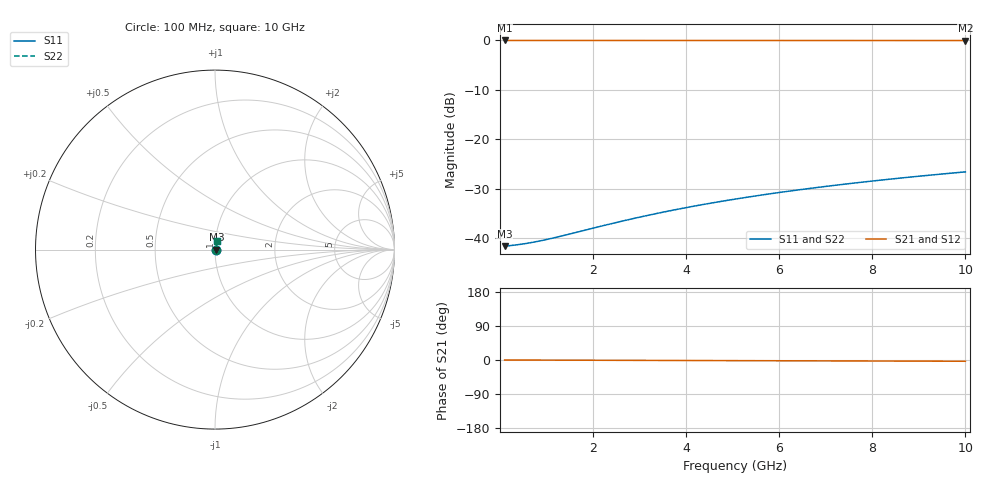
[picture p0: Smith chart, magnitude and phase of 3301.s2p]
# Hz S RI R 50.00
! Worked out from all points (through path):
!   100 points, 100 MHz to 10 GHz, reference 50 ohm
!   highest |S21| = -0.07 dB at 100 MHz (marker M1); lowest = -0.1 dB at 10 GHz (marker M2)
!   lowest |S11| = -41.6 dB at 100 MHz (marker M3), VSWR 1.02, Z = 50.8 + j0.046 ohm
!   |S11| at or under -10 dB: start of sweep to end of sweep
!   |S22| runs from -41.6 to -26.6 dB; largest |S21 - S12| = 0
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1e8  0.00826 0.000453  0.9917 -0.000575  0.9917 -0.000575  0.00826 0.000453
3e8  0.00836 0.00136  0.9916 -0.00172  0.9916 -0.00172  0.00836 0.00136
5e8  0.00842 0.00226  0.9916 -0.00287  0.9916 -0.00287  0.00842 0.00226
8e8  0.0085 0.00362  0.9915 -0.0046  0.9915 -0.0046  0.0085 0.00362
1e9  0.00854 0.00453  0.9915 -0.00574  0.9915 -0.00574  0.00854 0.00453
1.2e9  0.00858 0.00543  0.9914 -0.00689  0.9914 -0.00689  0.00858 0.00543
1.8e9  0.0087 0.00815  0.9913 -0.0103  0.9913 -0.0103  0.0087 0.00815
2.3e9  0.00879 0.0104  0.9912 -0.0132  0.9912 -0.0132  0.00879 0.0104
2.7e9  0.00888 0.0122  0.9911 -0.0155  0.9911 -0.0155  0.00888 0.0122
3.1e9  0.00897 0.014  0.991 -0.0178  0.991 -0.0178  0.00897 0.014
3.4e9  0.00904 0.0154  0.9909 -0.0195  0.9909 -0.0195  0.00904 0.0154
3.8e9  0.00914 0.0172  0.9908 -0.0218  0.9908 -0.0218  0.00914 0.0172
4.2e9  0.00924 0.019  0.9907 -0.0241  0.9907 -0.0241  0.00924 0.019
4.6e9  0.00935 0.0208  0.9906 -0.0264  0.9906 -0.0264  0.00935 0.0208
5.1e9  0.00951 0.0231  0.9905 -0.0293  0.9905 -0.0293  0.00951 0.0231
5.5e9  0.00964 0.0249  0.9903 -0.0316  0.9903 -0.0316  0.00964 0.0249
5.9e9  0.00977 0.0267  0.9902 -0.0339  0.9902 -0.0339  0.00977 0.0267
6.7e9  0.0101 0.0303  0.9899 -0.0384  0.9899 -0.0384  0.0101 0.0303
7.5e9  0.0104 0.0339  0.9895 -0.043  0.9895 -0.043  0.0104 0.0339
8.4e9  0.0108 0.0379  0.9891 -0.0482  0.9891 -0.0482  0.0108 0.0379
9.2e9  0.0112 0.0415  0.9887 -0.0528  0.9887 -0.0528  0.0112 0.0415
1e10  0.0116 0.0451  0.9883 -0.0573  0.9883 -0.0573  0.0116 0.0451
